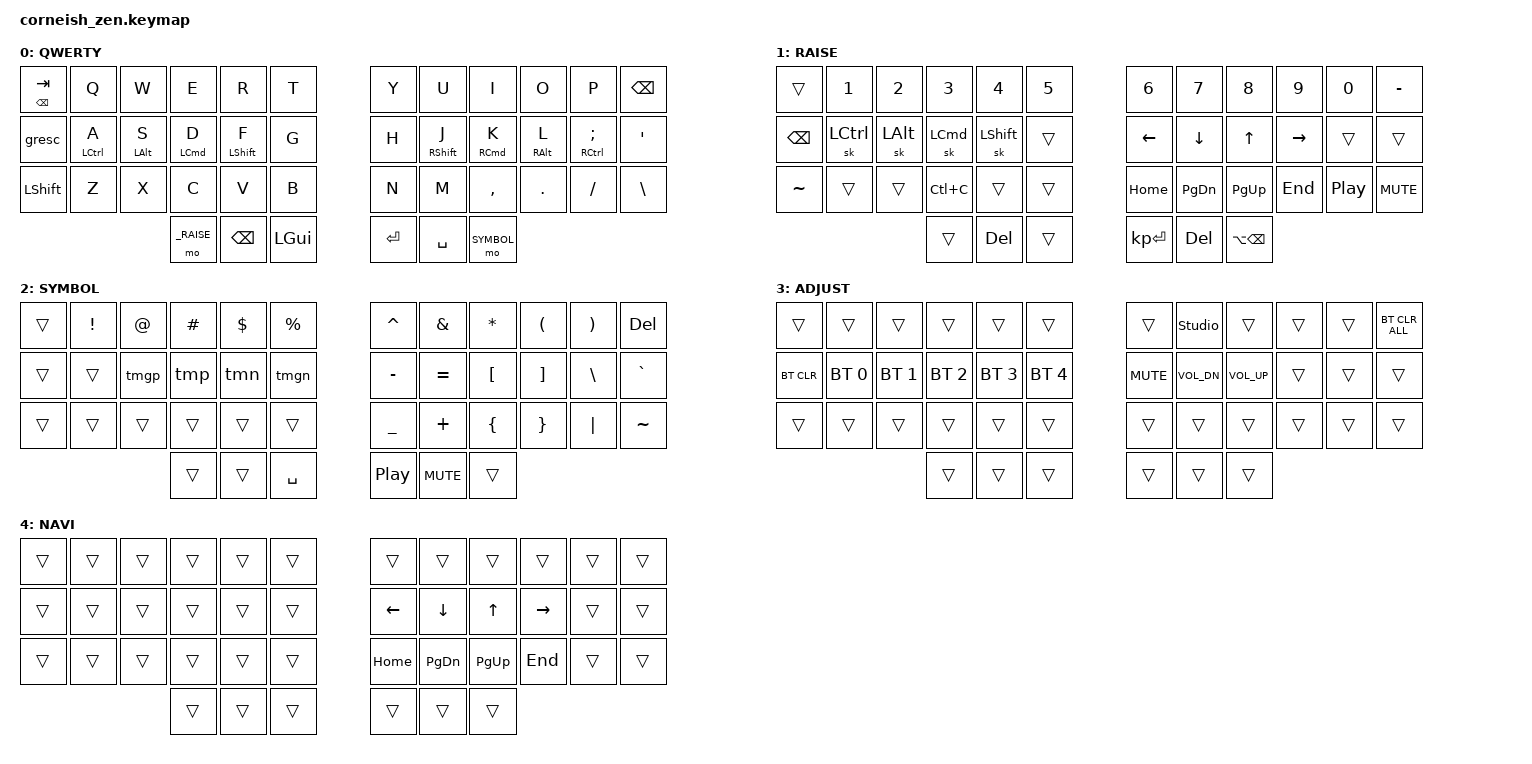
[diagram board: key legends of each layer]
#include <behaviors.dtsi>
#include <dt-bindings/zmk/keys.h>
#include <dt-bindings/zmk/bt.h>

/ {
    chosen {
        zmk,physical-layout = &foostan_corne_6col_layout;
        // zmk,physical-layout = &foostan_corne_5col_layout;
    };
};

/* Key index
 0  1  2  3  4  5    6  7  8  9 10 11
12 13 14 15 16 17   18 19 20 21 22 23
24 25 26 27 28 29   30 31 32 33 34 35
         36 37 38   39 40 41     */

#define _DEFAULT 0
#define _RAISE  1
#define _SYMBOL  2
#define _ADJUST  3
#define _NAVI    4

/ {
    behaviors {
            hm: homerow_mods {
                    compatible = "zmk,behavior-hold-tap";
                    label = "HOMEROW_MODS";
                    #binding-cells = <2>;
                    tapping-term-ms = <180>;
                    quick-tap-ms = <0>;
                    flavor = "tap-preferred";
                    bindings = <&kp>, <&kp>;
            };

            bhm: balanced_homerow_mods {
                    compatible = "zmk,behavior-hold-tap";
                    label = "HOMEROW_MODS";
                    #binding-cells = <2>;
                    tapping-term-ms = <250>;
                    quick-tap-ms = <125>;
                    flavor = "balanced";
                    bindings = <&kp>, <&kp>;
            };

            qt: quick_tap {
                    compatible = "zmk,behavior-hold-tap";
                    label = "QUICK_TAP";
                    #binding-cells = <2>;
                    flavor = "tap-preferred";
                    tapping-term-ms = <180>;
                    quick-tap-ms = <200>;
                    bindings = <&kp>, <&kp>;
            };

            rh_pht: right_hand_positional_hold_tap {
                    compatible = "zmk,behavior-hold-tap";
                    label = "RIGHT_POSITIONAL_HOLD_TAP";
                    #binding-cells = <2>;
                    flavor = "tap-unless-interrupted";
                    tapping-term-ms = <100>;   // <---[[produces tap if held longer than tapping-term-ms]]
                    quick-tap-ms = <200>;
                    bindings = <&kp>, <&kp>;
                    hold-trigger-key-positions = <1 2 3 4 5 13 14 15 16 17 25 26 27 28 29>;   // <---[[right-hand keys]]
            };
    };

    combos {
        compatible = "zmk,combos";

            // turns on Adjust layer
            combo_adjust {
                    timeout-ms = <50>;
                    key-positions = <38 39>;
                    bindings = <&mo _ADJUST>;
            };
    };

    macros {
            ZMK_MACRO(tmp,
                    bindings
                            = <&macro_press &kp LCTRL>
                            , <&macro_tap &kp B>
                            , <&macro_release &kp LCTRL>
                            , <&macro_tap &kp P>
                    ;
            )
            ZMK_MACRO(tmn,
                    bindings
                            = <&macro_press &kp LCTRL>
                            , <&macro_tap &kp B>
                            , <&macro_release &kp LCTRL>
                            , <&macro_tap &kp N>
                    ;
            )
            ZMK_MACRO(tmgp,
                    bindings
                            = <&macro_press &kp LCTRL>
                            , <&macro_tap &kp G>
                            , <&macro_release &kp LCTRL>
                            , <&macro_tap &kp P>
                    ;
            )
            ZMK_MACRO(tmgn,
                    bindings
                            = <&macro_press &kp LCTRL>
                            , <&macro_tap &kp G>
                            , <&macro_release &kp LCTRL>
                            , <&macro_tap &kp N>
                    ;
            )
    };

    keymap {
        compatible = "zmk,keymap";

        default_layer {
                display-name = "QWERTY";
                bindings = <
&qt BSPC TAB &kp Q        &kp W       &kp E        &kp R        &kp T            &kp Y   &kp U        &kp I        &kp O        &kp P            &kp BSPC
&gresc       &hm LCTRL A  &hm LALT S  &hm LCMD D   &hm LSHFT F  &kp G            &kp H   &bhm RSHFT J &bhm RCMD K  &bhm RALT L  &bhm RCTRL SEMI  &kp SQT
&kp LSHFT    &kp Z        &kp X       &kp C        &kp V        &kp B            &kp N   &kp M        &kp COMMA    &kp DOT      &kp FSLH         &kp BSLH
                                    &mo _RAISE   &kp BSPC     &kp LGUI         &kp RET &kp SPACE    &mo _SYMBOL
                >;
        };

        raise_layer {
                display-name = "RAISE";
                bindings = <
&trans     &kp N1    &kp N2   &kp N3    &kp N4    &kp N5         &kp N6         &kp N7       &kp N8       &kp N9    &kp N0   &kp MINUS
&kp BSPC   &sk LCTRL &sk LALT &sk LCMD  &sk LSHFT &trans         &kp LEFT       &kp DOWN     &kp UP       &kp RIGHT &trans   &trans
&kp TILDE  &trans    &trans   &kp LC(C) &trans    &trans         &kp HOME       &kp PG_DN    &kp PG_UP    &kp END   &kp C_PP &kp C_MUTE
                            &trans    &kp DEL   &trans         &kp KP_ENTER   &kp DEL      &kp LA(BSPC)
                >;
        };

        symbol_layer {
                display-name = "SYMBOL";
                bindings = <
&trans &kp EXCL &kp AT &kp HASH &kp DLLR &kp PRCNT     &kp CARET  &kp AMPS   &kp STAR &kp LPAR &kp RPAR &kp DEL 
&trans &trans   &tmgp  &tmp     &tmn     &tmgn         &kp MINUS  &kp EQUAL  &kp LBKT &kp RBKT &kp BSLH &kp GRAVE
&trans &trans   &trans &trans   &trans   &trans        &kp UNDER  &kp PLUS   &kp LBRC &kp RBRC &kp PIPE &kp TILDE
                    &trans   &trans   &kp SPACE     &kp C_PP   &kp C_MUTE &trans
                >;
        };

        adjust_layer {
                display-name = "ADJUST";
                bindings = <
&trans     &trans       &trans       &trans       &trans       &trans           &trans     &studio_unlock        &trans       &trans &trans &bt BT_CLR_ALL
&bt BT_CLR &bt BT_SEL 0 &bt BT_SEL 1 &bt BT_SEL 2 &bt BT_SEL 3 &bt BT_SEL 4     &kp C_MUTE &kp C_VOL_DN &kp C_VOL_UP &trans &trans &trans
&trans     &trans       &trans       &trans       &trans       &trans           &trans     &trans       &trans       &trans &trans &trans
                            &trans       &trans       &trans           &trans     &trans       &trans
                >;
        };

        navi_layer {
                display-name = "NAVI";
                bindings = <
&trans  &trans   &trans  &trans   &trans   &trans          &trans   &trans    &trans    &trans    &trans  &trans
&trans  &trans   &trans  &trans   &trans   &trans          &kp LEFT &kp DOWN  &kp UP    &kp RIGHT &trans  &trans
&trans  &trans   &trans  &trans   &trans   &trans          &kp HOME &kp PG_DN &kp PG_UP &kp END   &trans  &trans 
                    &trans   &trans   &trans          &trans   &trans    &trans
                >;
        };
    };
};
